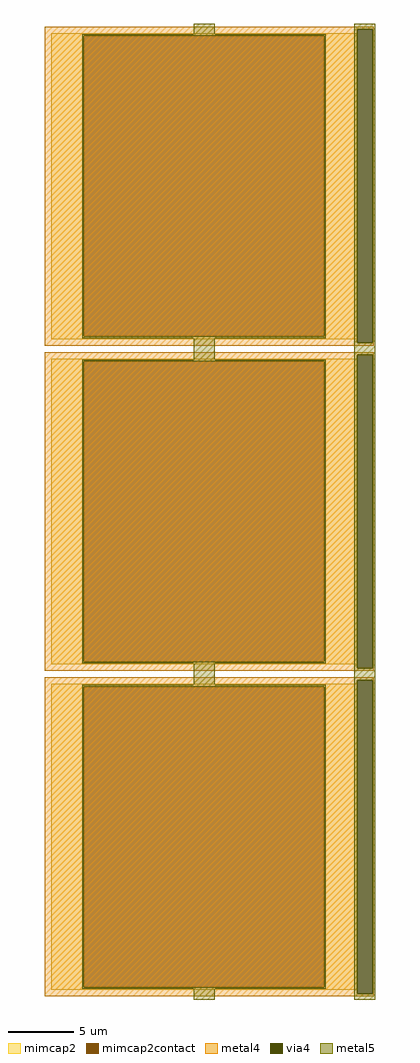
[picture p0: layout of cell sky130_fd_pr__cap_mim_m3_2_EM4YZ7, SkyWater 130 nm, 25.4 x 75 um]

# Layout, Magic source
magic
tech sky130A
magscale 1 2
<< metal4 >>
rect -2529 7409 2529 7450
rect -2529 2591 2273 7409
rect 2509 2591 2529 7409
rect -2529 2550 2529 2591
rect -2529 2409 2529 2450
rect -2529 -2409 2273 2409
rect 2509 -2409 2529 2409
rect -2529 -2450 2529 -2409
rect -2529 -2591 2529 -2550
rect -2529 -7409 2273 -2591
rect 2509 -7409 2529 -2591
rect -2529 -7450 2529 -7409
<< via4 >>
rect 2273 2591 2509 7409
rect 2273 -2409 2509 2409
rect 2273 -7409 2509 -2591
<< mimcap2 >>
rect -2429 7310 2271 7350
rect -2429 2690 -1927 7310
rect 1769 2690 2271 7310
rect -2429 2650 2271 2690
rect -2429 2310 2271 2350
rect -2429 -2310 -1927 2310
rect 1769 -2310 2271 2310
rect -2429 -2350 2271 -2310
rect -2429 -2690 2271 -2650
rect -2429 -7310 -1927 -2690
rect 1769 -7310 2271 -2690
rect -2429 -7350 2271 -7310
<< mimcap2contact >>
rect -1927 2690 1769 7310
rect -1927 -2310 1769 2310
rect -1927 -7310 1769 -2690
<< metal5 >>
rect -239 7334 81 7500
rect 2231 7409 2551 7500
rect -1951 7310 1793 7334
rect -1951 2690 -1927 7310
rect 1769 2690 1793 7310
rect -1951 2666 1793 2690
rect -239 2334 81 2666
rect 2231 2591 2273 7409
rect 2509 2591 2551 7409
rect 2231 2409 2551 2591
rect -1951 2310 1793 2334
rect -1951 -2310 -1927 2310
rect 1769 -2310 1793 2310
rect -1951 -2334 1793 -2310
rect -239 -2666 81 -2334
rect 2231 -2409 2273 2409
rect 2509 -2409 2551 2409
rect 2231 -2591 2551 -2409
rect -1951 -2690 1793 -2666
rect -1951 -7310 -1927 -2690
rect 1769 -7310 1793 -2690
rect -1951 -7334 1793 -7310
rect -239 -7500 81 -7334
rect 2231 -7409 2273 -2591
rect 2509 -7409 2551 -2591
rect 2231 -7500 2551 -7409
<< properties >>
string FIXED_BBOX -2529 2550 2371 7450
string gencell sky130_fd_pr__cap_mim_m3_2
string library sky130
string parameters w 23.5 l 23.5 val 1.122k carea 2.00 cperi 0.19 nx 1 ny 3 dummy 0 square 0 lmin 2.00 wmin 2.00 lmax 30.0 wmax 30.0 dc 0 bconnect 1 tconnect 1 ccov 80
<< end >>
